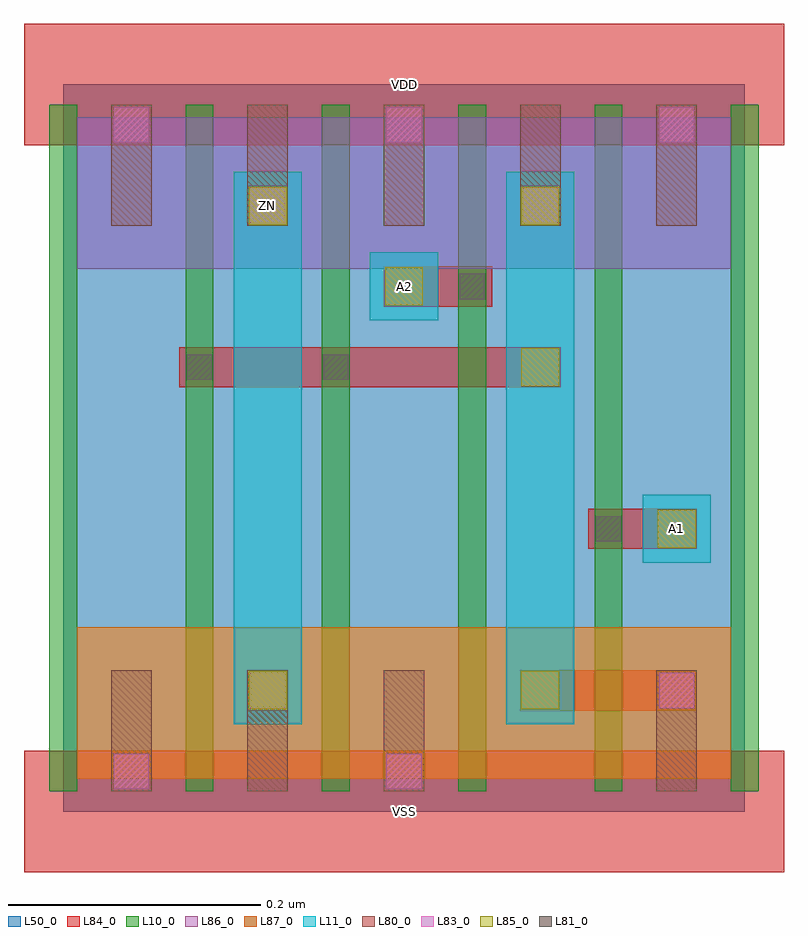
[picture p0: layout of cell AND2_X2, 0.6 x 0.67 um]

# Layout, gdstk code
import gdstk
lib = gdstk.Library(unit=1e-6, precision=1e-09)
def R(c, l, rs):  # rectangles x0, y0, x1, y1
    for r in rs: c.add(gdstk.rectangle(r[:2], r[2:], *l))
def A(c, l, x, y, w, h, nx, ny, dx, dy):  # array of equal rectangles
    R(c, l, [(x+i*dx, y+j*dy, x+i*dx+w, y+j*dy+h) for i in range(nx) for j in range(ny)])
L10_0 = (10, 0)
L11_0 = (11, 0)
L50_0 = (50, 0)
L80_0 = (80, 0)
L81_0 = (81, 0)
L83_0 = (83, 0)
L84_0 = (84, 0)
L85_0 = (85, 0)
L86_0 = (86, 0)
L87_0 = (87, 0)

and2_x2 = lib.new_cell('AND2_X2')
A(and2_x2, L10_0, -0.011, 0.016, 0.022, 0.544, 6, 1, 0.108, 0)
R(and2_x2, L11_0, [(0.135,0.069,0.189,0.507), (0.351,0.069,0.405,0.507), (0.459,0.197,0.513,0.251), (0.243,0.389,0.297,0.443)])
R(and2_x2, L50_0, [(0,0,0.54,0.576)])
A(and2_x2, L80_0, 0.038, 0.016, 0.032, 0.096, 3, 1, 0.108, 0)
A(and2_x2, L80_0, 0.038, 0.464, 0.032, 0.096, 5, 1, 0.108, 0)
R(and2_x2, L80_0, [(0.47,0.016,0.502,0.112)])
R(and2_x2, L81_0, [(0.422,0.214,0.442,0.234), (0.098,0.342,0.118,0.362), (0.206,0.342,0.226,0.362), (0.314,0.406,0.334,0.426)])
A(and2_x2, L83_0, 0.04, 0.53, 0.028, 0.028, 3, 1, 0.216, 0)
R(and2_x2, L83_0, [(0.04,0.018,0.068,0.046), (0.256,0.018,0.284,0.046), (0.148,0.082,0.176,0.11), (0.472,0.082,0.5,0.11), (0.148,0.466,0.176,0.494), (0.364,0.466,0.392,0.494)])
R(and2_x2, L84_0, [(-0.031,-0.048,0.571,0.048), (0.146,0.08,0.178,0.112), (0.362,0.08,0.502,0.112), (0.416,0.208,0.502,0.24), (0.092,0.336,0.394,0.368), (0.254,0.4,0.34,0.432), (0.146,0.464,0.178,0.496), (0.362,0.464,0.394,0.496), (-0.031,0.528,0.571,0.624)])
R(and2_x2, L85_0, [(0.147,0.081,0.177,0.111), (0.363,0.081,0.393,0.111), (0.471,0.209,0.501,0.239), (0.363,0.337,0.393,0.367), (0.255,0.401,0.285,0.431), (0.147,0.465,0.177,0.495), (0.363,0.465,0.393,0.495)])
R(and2_x2, L86_0, [(0.011,0.43,0.529,0.55)])
R(and2_x2, L87_0, [(0.011,0.026,0.529,0.146)])
and2_x2.add(gdstk.Label('VDD', (0.27,0.576), layer=88, texttype=0))
and2_x2.add(gdstk.Label('VSS', (0.27,0), layer=88, texttype=0))
and2_x2.add(gdstk.Label('ZN', (0.162,0.48), layer=31, texttype=0))
and2_x2.add(gdstk.Label('A1', (0.486,0.224), layer=31, texttype=0))
and2_x2.add(gdstk.Label('A2', (0.27,0.416), layer=31, texttype=0))

lib.write_gds('AND2_X2.gds')
